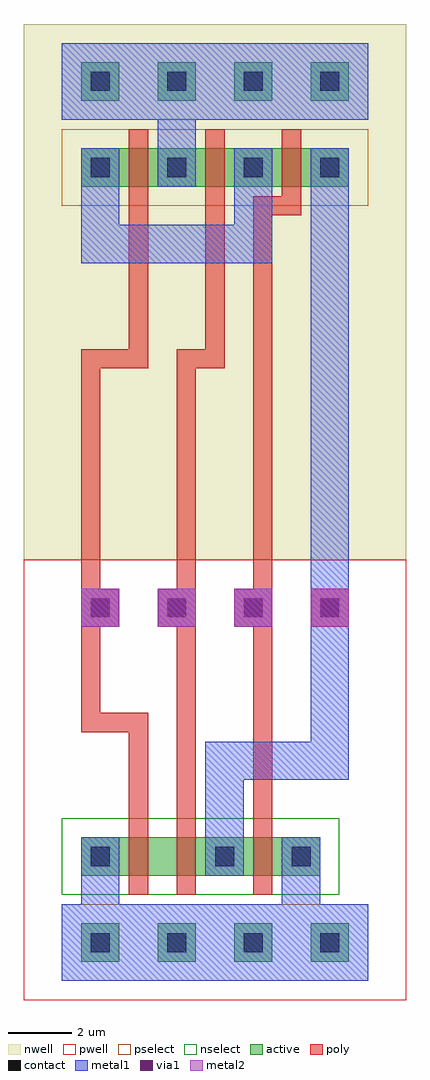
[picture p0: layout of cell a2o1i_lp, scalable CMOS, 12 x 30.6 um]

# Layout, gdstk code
import gdstk
lib = gdstk.Library(unit=1e-6, precision=1e-09)
def R(c, l, rs):  # rectangles x0, y0, x1, y1
    for r in rs: c.add(gdstk.rectangle(r[:2], r[2:], *l))
def A(c, l, x, y, w, h, nx, ny, dx, dy):  # array of equal rectangles
    R(c, l, [(x+i*dx, y+j*dy, x+i*dx+w, y+j*dy+h) for i in range(nx) for j in range(ny)])
contact = (25, 0)
pwell = (41, 0)
nwell = (42, 0)
active = (43, 0)
pselect = (44, 0)
nselect = (45, 0)
poly = (46, 0)
metal1 = (49, 0)
via1 = (50, 0)
metal2 = (51, 0)

a2o1i_lp = lib.new_cell('a2o1i_lp')
A(a2o1i_lp, contact, 0.9, -0.3, 0.6, 0.6, 4, 2, 2.4, 10.5)
A(a2o1i_lp, contact, 0.9, 24, 0.6, 0.6, 4, 2, 2.4, 2.7)
R(a2o1i_lp, contact, [(0.9,2.4,1.5,3), (4.8,2.4,5.4,3), (7.2,2.4,7.8,3)])
A(a2o1i_lp, pwell, -0.3, -1.5, 3, 3, 4, 1, 2.4, 0)
R(a2o1i_lp, pwell, [(-1.2,-1.8,10.8,12), (-1.2,0.3,3.6,5.1), (-0.6,0.3,5.4,5.1), (0.9,0.3,6.9,5.1), (2.7,0.3,7.5,5.1), (3.3,0.3,9.3,5.1), (5.1,0.3,9.9,5.1), (-1.05,0.45,3.525,4.95), (0.525,0.45,5.775,4.95), (2.775,0.45,7.35,4.95), (2.85,0.45,7.425,4.95), (5.175,0.45,9.75,4.95)])
A(a2o1i_lp, nwell, -1.2, 21.9, 4.8, 4.8, 4, 1, 2.4, 0)
A(a2o1i_lp, nwell, -0.6, 21.9, 6, 4.8, 3, 1, 2.4, 0)
A(a2o1i_lp, nwell, -0.3, 25.5, 3, 3, 4, 1, 2.4, 0)
R(a2o1i_lp, nwell, [(-1.2,12,10.8,28.8), (3.75,21.9,8.325,26.4), (6.075,21.9,10.65,26.4), (-1.05,22.05,3.525,26.55), (1.275,22.2,5.85,26.7), (1.35,22.2,5.925,26.7), (3.675,22.2,8.25,26.7)])
A(a2o1i_lp, active, 0.6, -0.6, 1.2, 1.2, 4, 2, 2.4, 24.3)
A(a2o1i_lp, active, 1.2, 23.7, 2.4, 1.2, 3, 1, 2.4, 0)
A(a2o1i_lp, active, 0.6, 26.4, 1.2, 1.2, 4, 1, 2.4, 0)
R(a2o1i_lp, active, [(0.6,2.1,1.8,3.3), (1.2,2.1,3.6,3.3), (2.7,2.1,5.1,3.3), (4.5,2.1,5.7,3.3), (5.1,2.1,7.5,3.3), (6.9,2.1,8.1,3.3), (0.75,2.25,1.725,3.15), (2.325,2.25,3.975,3.15), (4.575,2.25,5.55,3.15), (4.65,2.25,5.625,3.15), (6.975,2.25,7.95,3.15), (5.55,23.7,6.525,24.6), (7.875,23.7,8.85,24.6), (0.75,23.85,1.725,24.75), (3.075,24,4.05,24.9), (3.15,24,4.125,24.9), (5.475,24,6.45,24.9)])
A(a2o1i_lp, pselect, 0, -1.2, 2.4, 2.4, 4, 2, 2.4, 24.3)
A(a2o1i_lp, pselect, 0.6, 23.1, 3.6, 2.4, 3, 1, 2.4, 0)
R(a2o1i_lp, pselect, [(4.95,23.1,7.125,25.2), (7.275,23.1,9.45,25.2), (0.15,23.25,2.325,25.35), (2.475,23.4,4.65,25.5), (2.55,23.4,4.725,25.5), (4.875,23.4,7.05,25.5)])
A(a2o1i_lp, nselect, 0, 25.8, 2.4, 2.4, 4, 1, 2.4, 0)
R(a2o1i_lp, nselect, [(0,1.5,2.4,3.9), (0.6,1.5,4.2,3.9), (2.1,1.5,5.7,3.9), (3.9,1.5,6.3,3.9), (4.5,1.5,8.1,3.9), (6.3,1.5,8.7,3.9), (0.15,1.65,2.325,3.75), (1.725,1.65,4.575,3.75), (3.975,1.65,6.15,3.75), (4.05,1.65,6.225,3.75), (6.375,1.65,8.55,3.75)])
A(a2o1i_lp, poly, 0.6, 9.9, 1.2, 1.2, 4, 1, 2.4, 0)
A(a2o1i_lp, poly, 2.1, 23.1, 0.6, 2.4, 3, 1, 2.4, 0)
R(a2o1i_lp, poly, [(2.1,1.5,2.7,3.9), (3.6,1.5,4.2,3.9), (6,1.5,6.6,3.9), (2.1,3.6,2.7,7.2), (3.6,3.6,4.2,10.8), (6,3.6,6.6,10.8), (0.6,6.6,2.7,7.2), (0.6,6.6,1.2,10.8), (0.6,10.2,1.2,18.6), (0.6,10.2,1.5,10.8), (3.3,10.2,4.2,10.8), (3.3,10.2,3.9,10.8), (3.6,10.2,4.2,18.6), (5.7,10.2,6.6,10.8), (6,10.2,6.6,23.4), (0.6,18,2.7,18.6), (2.1,18,2.7,23.4), (3.6,18,5.1,18.6), (4.5,18,5.1,23.4), (6,22.8,7.5,23.4)])
A(a2o1i_lp, metal1, 0, -1.2, 4.8, 2.4, 3, 2, 2.4, 27)
A(a2o1i_lp, metal1, 0.6, -0.6, 1.2, 1.2, 4, 2, 2.4, 24.3)
A(a2o1i_lp, metal1, 0.6, 26.4, 1.2, 1.2, 4, 1, 2.4, 0)
R(a2o1i_lp, metal1, [(0,-1.2,4.8,1.2), (6.3,-1.2,9.6,1.2), (0.6,-0.6,1.8,3.3), (6.9,-0.6,8.1,3.3), (0.75,-0.45,1.65,0.45), (7.95,-0.45,8.85,0.45), (0.6,2.1,1.8,3.3), (4.5,2.1,5.7,3.3), (4.5,2.1,5.7,6.3), (6.9,2.1,8.1,3.3), (4.5,5.1,9,6.3), (7.8,5.1,9,11.1), (0.6,9.9,1.8,11.1), (0.6,9.9,1.8,11.1), (0.6,9.9,1.8,11.1), (3,9.9,4.2,11.1), (3,9.9,4.2,11.1), (3,9.9,4.2,11.1), (5.4,9.9,6.6,11.1), (5.4,9.9,6.6,11.1), (5.4,9.9,6.6,11.1), (7.8,9.9,9,11.1), (7.8,9.9,9,11.1), (7.8,9.9,9,24.75), (7.8,9.9,9,11.4), (0.6,21.3,6.6,22.5), (0.6,21.3,1.8,24.9), (5.4,21.3,6.6,24.75), (3,23.85,4.2,27.6), (0,25.8,2.4,28.2), (0,25.8,4.8,28.2), (2.4,25.8,9.6,28.2), (0.6,26.4,1.8,27.6), (7.8,26.4,9,27.6), (0.75,26.55,1.65,27.45)])
A(a2o1i_lp, via1, 0.9, 10.2, 0.6, 0.6, 4, 1, 2.4, 0)
A(a2o1i_lp, metal2, 0.6, 9.9, 1.2, 1.2, 4, 1, 2.4, 0)

lib.write_gds('a2o1i_lp.gds')
